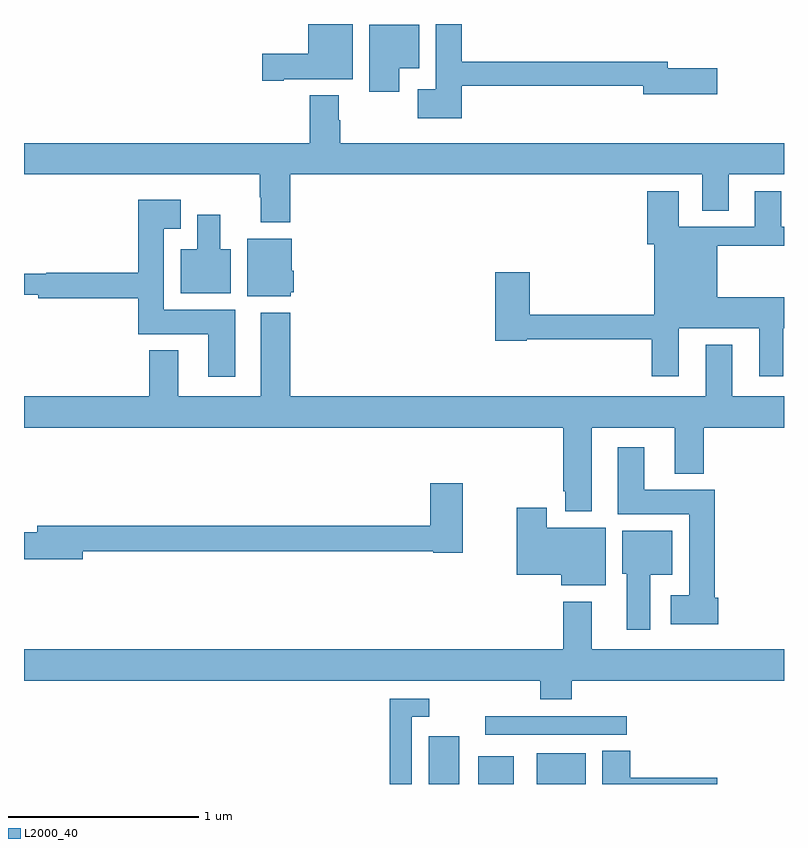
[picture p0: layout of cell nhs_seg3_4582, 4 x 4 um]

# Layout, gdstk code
import gdstk
lib = gdstk.Library(unit=1e-6, precision=1e-09)
def R(c, l, rs):  # rectangles x0, y0, x1, y1
    for r in rs: c.add(gdstk.rectangle(r[:2], r[2:], *l))
def P(c, l, *ps):  # polygons
    for p in ps: c.add(gdstk.Polygon(p, *l))
L2000_40 = (2000, 40)

nhs_seg3_4582 = lib.new_cell('nhs_seg3_4582')
R(nhs_seg3_4582, L2000_40, [(359.129,672.4,359.29,672.652), (359.39,672.4,359.578,672.547), (359.699,672.4,359.956,672.562), (359.427,672.66,360.172,672.756)])
P(nhs_seg3_4582, L2000_40, [(359.303,676.074),(360.26,676.074),(360.26,676.031),(360.649,676.031),(360.649,676.166),(360.388,676.166),(360.388,676.202),(359.303,676.202),(359.303,676.4),(359.168,676.4),(359.168,676.057),(359.073,676.057),(359.073,675.905),(359.303,675.905)],
  [(358.366,676.109),(358.729,676.109),(358.729,676.4),(358.496,676.4),(358.496,676.244),(358.254,676.244),(358.254,676.102),(358.366,676.102)],
  [(358.975,676.166),(359.08,676.166),(359.08,676.396),(358.817,676.396),(358.817,676.044),(358.975,676.044)],
  [(358.4,675.608),(360.569,675.608),(360.569,675.418),(360.709,675.418),(360.709,675.608),(361,675.608),(361,675.772),(358.665,675.772),(358.665,675.893),(358.657,675.893),(358.657,676.024),(358.505,676.024),(358.505,675.772),(357,675.772),(357,675.608),(358.24,675.608),(358.24,675.488),(358.247,675.488),(358.247,675.356),(358.4,675.356)],
  [(360.445,674.798),(360.869,674.798),(360.869,674.547),(360.997,674.547),(360.997,674.798),(361,674.798),(361,674.962),(360.649,674.962),(360.649,675.232),(361,675.232),(361,675.333),(360.985,675.333),(360.985,675.52),(360.845,675.52),(360.845,675.333),(360.445,675.333),(360.445,675.52),(360.281,675.52),(360.281,675.24),(360.317,675.24),(360.317,674.87),(359.663,674.87),(359.663,675.094),(359.48,675.094),(359.48,674.734),(359.646,674.734),(359.646,674.742),(360.305,674.742),(360.305,674.547),(360.445,674.547)],
  [(358.111,674.896),(357.736,674.896),(357.736,675.323),(357.826,675.323),(357.826,675.475),(357.602,675.475),(357.602,675.092),(357.118,675.092),(357.118,675.085),(357,675.085),(357,674.975),(357.076,674.975),(357.076,674.956),(357.602,674.956),(357.602,674.768),(357.971,674.768),(357.971,674.544),(358.111,674.544)],
  [(358.087,675.214),(358.033,675.214),(358.033,675.397),(357.911,675.397),(357.911,675.214),(357.824,675.214),(357.824,674.984),(358.087,674.984)],
  [(358.404,674.988),(358.42,674.988),(358.42,675.102),(358.408,675.102),(358.408,675.271),(358.175,675.271),(358.175,674.966),(358.404,674.966)],
  [(358.4,674.881),(358.247,674.881),(358.247,674.44),(357.811,674.44),(357.811,674.683),(357.659,674.683),(357.659,674.44),(357,674.44),(357,674.276),(359.837,674.276),(359.837,673.942),(359.849,673.942),(359.849,673.835),(359.989,673.835),(359.989,674.276),(360.425,674.276),(360.425,674.033),(360.578,674.033),(360.578,674.276),(361,674.276),(361,674.44),(360.727,674.44),(360.727,674.713),(360.587,674.713),(360.587,674.44),(358.4,674.44)],
  [(360.653,673.38),(360.635,673.38),(360.635,673.948),(360.265,673.948),(360.265,674.173),(360.125,674.173),(360.125,673.82),(360.5,673.82),(360.5,673.393),(360.405,673.393),(360.405,673.241),(360.653,673.241)],
  [(357.31,673.624),(359.154,673.624),(359.154,673.616),(359.308,673.616),(359.308,673.984),(359.138,673.984),(359.138,673.76),(357.071,673.76),(357.071,673.724),(357,673.724),(357,673.582),(357.31,673.582)],
  [(360.061,673.75),(359.752,673.75),(359.752,673.855),(359.594,673.855),(359.594,673.502),(359.828,673.502),(359.828,673.445),(360.061,673.445)],
  [(360.295,673.502),(360.412,673.502),(360.412,673.732),(360.149,673.732),(360.149,673.506),(360.173,673.506),(360.173,673.212),(360.295,673.212)],
  [(359.882,672.944),(361,672.944),(361,673.108),(359.989,673.108),(359.989,673.36),(359.837,673.36),(359.837,673.108),(357,673.108),(357,672.944),(359.717,672.944),(359.717,672.845),(359.882,672.845)],
  [(359.04,672.753),(359.134,672.753),(359.134,672.849),(358.924,672.849),(358.924,672.4),(359.04,672.4)],
  [(360.649,672.434),(360.191,672.434),(360.191,672.575),(360.044,672.575),(360.044,672.4),(360.649,672.4)])

lib.write_gds('nhs_seg3_4582.gds')
